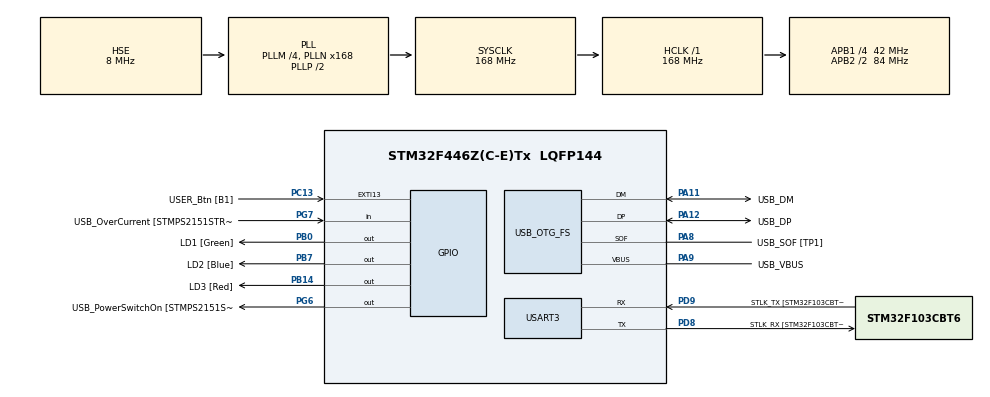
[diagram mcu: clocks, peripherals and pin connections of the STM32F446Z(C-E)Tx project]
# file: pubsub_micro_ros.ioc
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Dma.Request0=USART3_TX
Dma.Request1=USART3_RX
Dma.USART3_RX.1.Direction=DMA_PERIPH_TO_MEMORY
Dma.USART3_RX.1.FIFOMode=DMA_FIFOMODE_DISABLE
Dma.USART3_RX.1.Instance=DMA1_Stream1
Dma.USART3_RX.1.MemDataAlignment=DMA_MDATAALIGN_BYTE
Dma.USART3_RX.1.MemInc=DMA_MINC_ENABLE
Dma.USART3_RX.1.Mode=DMA_CIRCULAR
Dma.USART3_RX.1.PeriphDataAlignment=DMA_PDATAALIGN_BYTE
Dma.USART3_RX.1.PeriphInc=DMA_PINC_DISABLE
Dma.USART3_RX.1.Priority=DMA_PRIORITY_VERY_HIGH
Dma.USART3_TX.0.Direction=DMA_MEMORY_TO_PERIPH
Dma.USART3_TX.0.FIFOMode=DMA_FIFOMODE_DISABLE
Dma.USART3_TX.0.Instance=DMA1_Stream3
Dma.USART3_TX.0.MemDataAlignment=DMA_MDATAALIGN_BYTE
Dma.USART3_TX.0.MemInc=DMA_MINC_ENABLE
Dma.USART3_TX.0.Mode=DMA_NORMAL
Dma.USART3_TX.0.PeriphDataAlignment=DMA_PDATAALIGN_BYTE
Dma.USART3_TX.0.PeriphInc=DMA_PINC_DISABLE
Dma.USART3_TX.0.Priority=DMA_PRIORITY_VERY_HIGH
FREERTOS.Tasks01=defaultTask,24,3000,StartDefaultTask,Default,NULL,Dynamic,NULL,NULL;myTask02,8,128,StartTask02,Default,NULL,Dynamic,NULL,NULL
FREERTOS.configTOTAL_HEAP_SIZE=24000
FREERTOS.configUSE_NEWLIB_REENTRANT=1
Mcu.Family=STM32F4
Mcu.Name=STM32F446Z(C-E)Tx
Mcu.Package=LQFP144
NVIC.DMA1_Stream1_IRQn=true\:5\:0\:false\:false\:true\:true\:false\:true\:true
NVIC.DMA1_Stream3_IRQn=true\:5\:0\:false\:false\:true\:true\:false\:true\:true
NVIC.PriorityGroup=NVIC_PRIORITYGROUP_4
NVIC.TIM1_UP_TIM10_IRQn=true\:15\:0\:false\:false\:true\:false\:false\:true\:true
NVIC.TimeBase=TIM1_UP_TIM10_IRQn
NVIC.TimeBaseIP=TIM1
NVIC.USART3_IRQn=true\:5\:0\:false\:false\:true\:true\:true\:true\:true
PA10.GPIO_Label=USB_ID
PA10.Signal=USB_OTG_FS_ID
PA11.GPIO_Label=USB_DM
PA11.Mode=Device_Only
PA11.Signal=USB_OTG_FS_DM
PA12.GPIO_Label=USB_DP
PA12.Mode=Device_Only
PA12.Signal=USB_OTG_FS_DP
PA13.GPIO_Label=TMS
PA13.Mode=Serial_Wire
PA13.Signal=SYS_JTMS-SWDIO
PA14.GPIO_Label=TCK
PA14.Mode=Serial_Wire
PA14.Signal=SYS_JTCK-SWCLK
PA8.GPIO_Label=USB_SOF [TP1]
PA8.Mode=Activate_SOF_FS
PA8.Signal=USB_OTG_FS_SOF
PA9.GPIO_Label=USB_VBUS
PA9.Mode=Activate_VBUS
PA9.Signal=USB_OTG_FS_VBUS
PB0.GPIO_Label=LD1 [Green]
PB0.Signal=GPIO_Output
PB14.GPIO_Label=LD3 [Red]
PB14.Signal=GPIO_Output
PB7.GPIO_Label=LD2 [Blue]
PB7.Signal=GPIO_Output
PC13.GPIO_Label=USER_Btn [B1]
PC13.Signal=GPXTI13
PC14-OSC32_IN.Mode=LSE-External-Oscillator
PC14-OSC32_IN.Signal=RCC_OSC32_IN
PC15-OSC32_OUT.Mode=LSE-External-Oscillator
PC15-OSC32_OUT.Signal=RCC_OSC32_OUT
PD8.GPIO_Label=STLK_RX [STM32F103CBT6_PA3]
PD8.Mode=Asynchronous
PD8.Signal=USART3_TX
PD9.GPIO_Label=STLK_TX [STM32F103CBT6_PA2]
PD9.Mode=Asynchronous
PD9.Signal=USART3_RX
PG6.GPIO_Label=USB_PowerSwitchOn [STMPS2151STR_EN]
PG6.Signal=GPIO_Output
PG7.GPIO_Label=USB_OverCurrent [STMPS2151STR_FAULT]
PG7.Signal=GPIO_Input
PH0-OSC_IN.GPIO_Label=MCO [STM32F103CBT6_PA8]
PH0-OSC_IN.Mode=HSE-External-Clock-Source
PH0-OSC_IN.Signal=RCC_OSC_IN
PH1-OSC_OUT.Mode=HSE-External-Clock-Source
PH1-OSC_OUT.Signal=RCC_OSC_OUT
ProjectManager.HeapSize=0x200
ProjectManager.StackSize=0x400
ProjectManager.TargetToolchain=STM32CubeIDE
RCC.48MHZClocksFreq_Value=24000000
RCC.AHBFreq_Value=168000000
RCC.APB1CLKDivider=RCC_HCLK_DIV4
RCC.APB1Freq_Value=42000000
RCC.APB1TimFreq_Value=84000000
RCC.APB2CLKDivider=RCC_HCLK_DIV2
RCC.APB2Freq_Value=84000000
RCC.APB2TimFreq_Value=168000000
RCC.CortexFreq_Value=168000000
RCC.HCLKFreq_Value=168000000
RCC.HSE_VALUE=8000000
RCC.HSI_VALUE=16000000
RCC.PLLM=4
RCC.PLLMUL=RCC_PLL_MUL9
RCC.PLLN=168
RCC.PLLQ=7
RCC.PRESCALERUSB=RCC_USBCLKSOURCE_PLL_DIV1_5
RCC.SYSCLKFreq_VALUE=168000000
RCC.SYSCLKSource=RCC_SYSCLKSOURCE_PLLCLK
RCC.SYSCLKSourceVirtual=RCC_SYSCLKSOURCE_PLLCLK
RCC.USBFreq_Value=48000000
RCC.VCOOutputFreq_Value=336000000
USART3.VirtualMode=VM_ASYNC
USB_OTG_FS.VirtualMode=Device_Only
VP_FREERTOS_VS_CMSIS_V2.Mode=CMSIS_V2
VP_SYS_VS_tim1.Mode=TIM1
board=NUCLEO-F446ZE

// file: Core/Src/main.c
/* USER CODE BEGIN Header */
/**
  ******************************************************************************
  * @file           : main.c
  * @brief          : Main program body
  ******************************************************************************
  * @attention
  *
  * Copyright (c) 2026 STMicroelectronics.
  * All rights reserved.
  *
  * This software is licensed under terms that can be found in the LICENSE file
  * in the root directory of this software component.
  * If no LICENSE file comes with this software, it is provided AS-IS.
  *
  ******************************************************************************
  */
/* USER CODE END Header */
#include "main.h"
#include "cmsis_os.h"

/* USER CODE BEGIN Includes */

#include <rcl/rcl.h>
#include <rclc/rclc.h>
#include <rclc/executor.h>
#include <std_msgs/msg/int32.h>
#include <rmw_microros/rmw_microros.h>

extern bool cubemx_transport_open(struct uxrCustomTransport *transport);
extern bool cubemx_transport_close(struct uxrCustomTransport *transport);
extern size_t cubemx_transport_write(struct uxrCustomTransport *transport, const uint8_t *buf, size_t len, uint8_t *errcode);
extern size_t cubemx_transport_read(struct uxrCustomTransport *transport, uint8_t *buf, size_t len, int timeout, uint8_t *errcode);
extern void *microros_allocate(size_t size, void *state);
extern void microros_deallocate(void *pointer, void *state);
extern void *microros_reallocate(void *pointer, size_t size, void *state);
extern void *microros_zero_allocate(size_t num, size_t size, void *state);

/* USER CODE END Includes */

UART_HandleTypeDef huart3;
DMA_HandleTypeDef hdma_usart3_tx;
DMA_HandleTypeDef hdma_usart3_rx;

PCD_HandleTypeDef hpcd_USB_OTG_FS;

/* Definitions for defaultTask */
osThreadId_t defaultTaskHandle;
const osThreadAttr_t defaultTask_attributes = {
  .name = "defaultTask",
  .stack_size = 3000 * 4,
  .priority = (osPriority_t) osPriorityNormal,
};
/* Definitions for myTask02 */
osThreadId_t myTask02Handle;
const osThreadAttr_t myTask02_attributes = {
  .name = "myTask02",
  .stack_size = 128 * 4,
  .priority = (osPriority_t) osPriorityLow,
};
/* USER CODE BEGIN PV */

rcl_publisher_t publisher;
rcl_subscription_t subscriber;
std_msgs__msg__Int32 pub_msg;
std_msgs__msg__Int32 sub_msg;

/* USER CODE END PV */

void SystemClock_Config(void);
static void MX_GPIO_Init(void);
static void MX_DMA_Init(void);
static void MX_USART3_UART_Init(void);
static void MX_USB_OTG_FS_PCD_Init(void);
void StartDefaultTask(void *argument);
void StartTask02(void *argument);

/* USER CODE BEGIN PFP */

void subscription_callback(const void *msgin);

/* USER CODE END PFP */

int main(void)
{

  /* MCU Configuration--------------------------------------------------------*/

  /* Reset of all peripherals, Initializes the Flash interface and the Systick. */
  HAL_Init();

  /* Configure the system clock */
  SystemClock_Config();

  /* Initialize all configured peripherals */
  MX_GPIO_Init();
  MX_DMA_Init();
  MX_USART3_UART_Init();
  MX_USB_OTG_FS_PCD_Init();

  /* Init scheduler */
  osKernelInitialize();

  /* Create the thread(s) */
  /* creation of defaultTask */
  defaultTaskHandle = osThreadNew(StartDefaultTask, NULL, &defaultTask_attributes);

  /* creation of myTask02 */
  myTask02Handle = osThreadNew(StartTask02, NULL, &myTask02_attributes);

  /* Start scheduler */
  osKernelStart();

  /* We should never get here as control is now taken by the scheduler */

  /* Infinite loop */
  while (1)
  {

  }
}

void SystemClock_Config(void)
{
  RCC_OscInitTypeDef RCC_OscInitStruct = {0};
  RCC_ClkInitTypeDef RCC_ClkInitStruct = {0};

  /** Configure the main internal regulator output voltage
  */
  __HAL_RCC_PWR_CLK_ENABLE();
  __HAL_PWR_VOLTAGESCALING_CONFIG(PWR_REGULATOR_VOLTAGE_SCALE1);

  /** Initializes the RCC Oscillators according to the specified parameters
  * in the RCC_OscInitTypeDef structure.
  */
  RCC_OscInitStruct.OscillatorType = RCC_OSCILLATORTYPE_HSE;
  RCC_OscInitStruct.HSEState = RCC_HSE_BYPASS;
  RCC_OscInitStruct.PLL.PLLState = RCC_PLL_ON;
  RCC_OscInitStruct.PLL.PLLSource = RCC_PLLSOURCE_HSE;
  RCC_OscInitStruct.PLL.PLLM = 4;
  RCC_OscInitStruct.PLL.PLLN = 168;
  RCC_OscInitStruct.PLL.PLLP = RCC_PLLP_DIV2;
  RCC_OscInitStruct.PLL.PLLQ = 7;
  RCC_OscInitStruct.PLL.PLLR = 2;
  if (HAL_RCC_OscConfig(&RCC_OscInitStruct) != HAL_OK)
  {
    Error_Handler();
  }

  /** Initializes the CPU, AHB and APB buses clocks
  */
  RCC_ClkInitStruct.ClockType = RCC_CLOCKTYPE_HCLK|RCC_CLOCKTYPE_SYSCLK
                              |RCC_CLOCKTYPE_PCLK1|RCC_CLOCKTYPE_PCLK2;
  RCC_ClkInitStruct.SYSCLKSource = RCC_SYSCLKSOURCE_PLLCLK;
  RCC_ClkInitStruct.AHBCLKDivider = RCC_SYSCLK_DIV1;
  RCC_ClkInitStruct.APB1CLKDivider = RCC_HCLK_DIV4;
  RCC_ClkInitStruct.APB2CLKDivider = RCC_HCLK_DIV2;

  if (HAL_RCC_ClockConfig(&RCC_ClkInitStruct, FLASH_LATENCY_5) != HAL_OK)
  {
    Error_Handler();
  }
}

static void MX_USART3_UART_Init(void)
{

  huart3.Instance = USART3;
  huart3.Init.BaudRate = 115200;
  huart3.Init.WordLength = UART_WORDLENGTH_8B;
  huart3.Init.StopBits = UART_STOPBITS_1;
  huart3.Init.Parity = UART_PARITY_NONE;
  huart3.Init.Mode = UART_MODE_TX_RX;
  huart3.Init.HwFlowCtl = UART_HWCONTROL_NONE;
  huart3.Init.OverSampling = UART_OVERSAMPLING_16;
  if (HAL_UART_Init(&huart3) != HAL_OK)
  {
    Error_Handler();
  }

}

static void MX_USB_OTG_FS_PCD_Init(void)
{

  hpcd_USB_OTG_FS.Instance = USB_OTG_FS;
  hpcd_USB_OTG_FS.Init.dev_endpoints = 6;
  hpcd_USB_OTG_FS.Init.speed = PCD_SPEED_FULL;
  hpcd_USB_OTG_FS.Init.dma_enable = DISABLE;
  hpcd_USB_OTG_FS.Init.phy_itface = PCD_PHY_EMBEDDED;
  hpcd_USB_OTG_FS.Init.Sof_enable = ENABLE;
  hpcd_USB_OTG_FS.Init.low_power_enable = DISABLE;
  hpcd_USB_OTG_FS.Init.lpm_enable = DISABLE;
  hpcd_USB_OTG_FS.Init.vbus_sensing_enable = ENABLE;
  hpcd_USB_OTG_FS.Init.use_dedicated_ep1 = DISABLE;
  if (HAL_PCD_Init(&hpcd_USB_OTG_FS) != HAL_OK)
  {
    Error_Handler();
  }

}

static void MX_DMA_Init(void)
{

  /* DMA controller clock enable */
  __HAL_RCC_DMA1_CLK_ENABLE();

  /* DMA interrupt init */
  /* DMA1_Stream1_IRQn interrupt configuration */
  HAL_NVIC_SetPriority(DMA1_Stream1_IRQn, 5, 0);
  HAL_NVIC_EnableIRQ(DMA1_Stream1_IRQn);
  /* DMA1_Stream3_IRQn interrupt configuration */
  HAL_NVIC_SetPriority(DMA1_Stream3_IRQn, 5, 0);
  HAL_NVIC_EnableIRQ(DMA1_Stream3_IRQn);

}

static void MX_GPIO_Init(void)
{
  GPIO_InitTypeDef GPIO_InitStruct = {0};

  /* GPIO Ports Clock Enable */
  __HAL_RCC_GPIOC_CLK_ENABLE();
  __HAL_RCC_GPIOH_CLK_ENABLE();
  __HAL_RCC_GPIOB_CLK_ENABLE();
  __HAL_RCC_GPIOD_CLK_ENABLE();
  __HAL_RCC_GPIOG_CLK_ENABLE();
  __HAL_RCC_GPIOA_CLK_ENABLE();

  /*Configure GPIO pin Output Level */
  HAL_GPIO_WritePin(GPIOB, LD1_Pin|LD3_Pin|LD2_Pin, GPIO_PIN_RESET);

  /*Configure GPIO pin Output Level */
  HAL_GPIO_WritePin(USB_PowerSwitchOn_GPIO_Port, USB_PowerSwitchOn_Pin, GPIO_PIN_RESET);

  /*Configure GPIO pin : USER_Btn_Pin */
  GPIO_InitStruct.Pin = USER_Btn_Pin;
  GPIO_InitStruct.Mode = GPIO_MODE_IT_RISING;
  GPIO_InitStruct.Pull = GPIO_NOPULL;
  HAL_GPIO_Init(USER_Btn_GPIO_Port, &GPIO_InitStruct);

  /*Configure GPIO pins : LD1_Pin LD3_Pin LD2_Pin */
  GPIO_InitStruct.Pin = LD1_Pin|LD3_Pin|LD2_Pin;
  GPIO_InitStruct.Mode = GPIO_MODE_OUTPUT_PP;
  GPIO_InitStruct.Pull = GPIO_NOPULL;
  GPIO_InitStruct.Speed = GPIO_SPEED_FREQ_LOW;
  HAL_GPIO_Init(GPIOB, &GPIO_InitStruct);

  /*Configure GPIO pin : USB_PowerSwitchOn_Pin */
  GPIO_InitStruct.Pin = USB_PowerSwitchOn_Pin;
  GPIO_InitStruct.Mode = GPIO_MODE_OUTPUT_PP;
  GPIO_InitStruct.Pull = GPIO_NOPULL;
  GPIO_InitStruct.Speed = GPIO_SPEED_FREQ_LOW;
  HAL_GPIO_Init(USB_PowerSwitchOn_GPIO_Port, &GPIO_InitStruct);

  /*Configure GPIO pin : USB_OverCurrent_Pin */
  GPIO_InitStruct.Pin = USB_OverCurrent_Pin;
  GPIO_InitStruct.Mode = GPIO_MODE_INPUT;
  GPIO_InitStruct.Pull = GPIO_NOPULL;
  HAL_GPIO_Init(USB_OverCurrent_GPIO_Port, &GPIO_InitStruct);

}

/* USER CODE BEGIN 4 */

void subscription_callback(const void *msgin)
{
  const std_msgs__msg__Int32 *msg = (const std_msgs__msg__Int32 *)msgin;
  pub_msg.data = msg->data * 5;
  rcl_publish(&publisher, &pub_msg, NULL);
}

/* USER CODE END 4 */

void StartDefaultTask(void *argument)
{
  /* USER CODE BEGIN 5 */
	rmw_uros_set_custom_transport(
		    true, (void *)&huart3,
		    cubemx_transport_open,
		    cubemx_transport_close,
		    cubemx_transport_write,
		    cubemx_transport_read
		  );

		  rcl_allocator_t freeRTOS_allocator = rcutils_get_zero_initialized_allocator();
		  freeRTOS_allocator.allocate      = microros_allocate;
		  freeRTOS_allocator.deallocate    = microros_deallocate;
		  freeRTOS_allocator.reallocate    = microros_reallocate;
		  freeRTOS_allocator.zero_allocate = microros_zero_allocate;
		  rcutils_set_default_allocator(&freeRTOS_allocator);

		  rclc_support_t support;
		  rclc_support_init(&support, 0, NULL, &freeRTOS_allocator);

		  rcl_node_t node;
		  rclc_node_init_default(&node, "stm32_node", "", &support);

		  rclc_publisher_init_default(
		    &publisher, &node,
		    ROSIDL_GET_MSG_TYPE_SUPPORT(std_msgs, msg, Int32),
		    "stm32_reply"
		  );

		  rclc_subscription_init_default(
		    &subscriber, &node,
		    ROSIDL_GET_MSG_TYPE_SUPPORT(std_msgs, msg, Int32),
		    "stm32_command"
		  );

		  rclc_executor_t executor;
		  rclc_executor_init(&executor, &support.context, 1, &freeRTOS_allocator);
		  rclc_executor_add_subscription(&executor, &subscriber, &sub_msg,
		                                 &subscription_callback, ON_NEW_DATA);

		  for(;;)
		  {
		    rclc_executor_spin_some(&executor, RCL_MS_TO_NS(10));
		    osDelay(10);
		  }
  /* USER CODE END 5 */
}

void StartTask02(void *argument)
{
  /* USER CODE BEGIN StartTask02 */
  /* Infinite loop */
  for(;;)
  {
	  HAL_GPIO_TogglePin(GPIOB, GPIO_PIN_0);
	  osDelay(500);
  }
  /* USER CODE END StartTask02 */
}

void HAL_TIM_PeriodElapsedCallback(TIM_HandleTypeDef *htim)
{
  if (htim->Instance == TIM1)
  {
    HAL_IncTick();
  }
}

void Error_Handler(void)
{
  __disable_irq();
  while (1)
  {
  }
}
